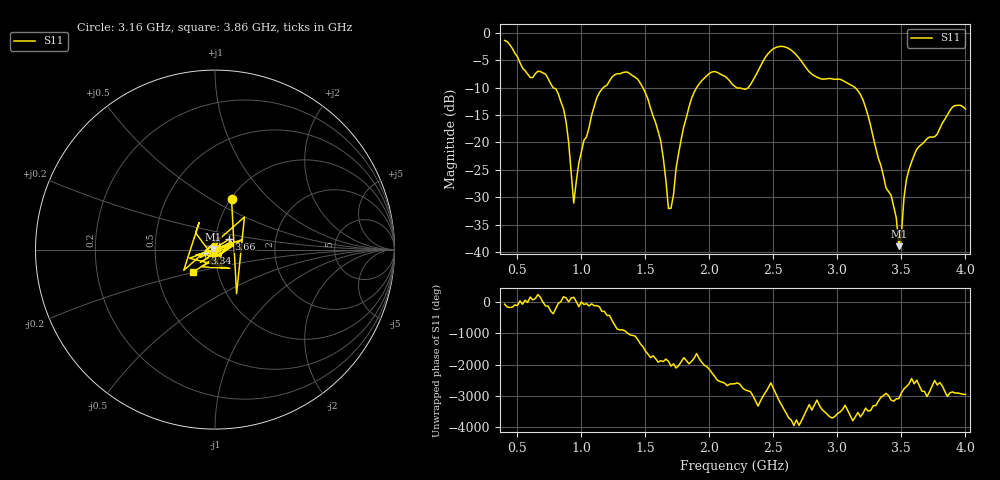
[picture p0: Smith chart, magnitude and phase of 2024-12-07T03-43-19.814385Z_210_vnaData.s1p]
!Created with skrf (http://scikit-rf.org).
# Hz S RI R 50.0
!freq ReS11 ImS11
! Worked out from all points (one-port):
!   181 points, 400 MHz to 4 GHz, reference 50 ohm
!   lowest |S11| = -38.9 dB at 3.48 GHz (marker M1), VSWR 1.02, Z = 49 + j0.414 ohm
!   |S11| at or under -10 dB: 778.6 MHz to 1.172 GHz (393.6 MHz wide, 40.4 % of centre); 1.48 GHz to 1.9 GHz (419.6 MHz wide, 24.8 % of centre); 3.139 GHz to end of sweep (the widest 3 of 4)
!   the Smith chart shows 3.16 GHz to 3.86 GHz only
!   S11 on the Smith chart (normalised r, x): 3.16 GHz: 1.01, +0.62; 3.34 GHz: 0.89, -0.04; 3.66 GHz: 1.16, +0.13; 3.86 GHz: 0.75, -0.20
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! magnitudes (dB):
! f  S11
! 400 MHz  -1.4
! 600 MHz  -8.2
! 720 MHz  -7.5
! 860 MHz  -13.8
! 900 MHz  -19.9
! 940 MHz  -31.0
! 980 MHz  -23.7
! 1.12 GHz  -11.9
! 1.3 GHz  -7.5
! 1.52 GHz  -12.1
! 1.62 GHz  -19.8
! 1.68 GHz  -32.0
! 1.76 GHz  -21.9
! 1.86 GHz  -12.0
! 1.94 GHz  -8.7
! 2.2 GHz  -9.8
! 2.3 GHz  -10.1
! 2.5 GHz  -2.9
! 2.66 GHz  -3.6
! 3.1 GHz  -9.5
! 3.16 GHz  -10.6
! 3.34 GHz  -24.2
! 3.46 GHz  -33.7
! 3.48 GHz  -38.9
! 3.56 GHz  -24.9
! 3.66 GHz  -20.3
! 3.86 GHz  -15.0
! 4 GHz  -13.9
